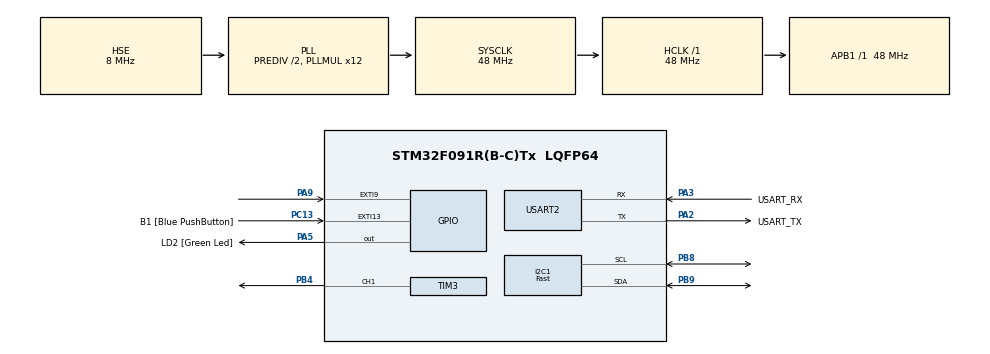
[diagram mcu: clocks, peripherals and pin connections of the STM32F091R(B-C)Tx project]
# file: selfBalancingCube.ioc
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Mcu.Family=STM32F0
RCC.PLLSourceVirtual=RCC_PLLSOURCE_HSE
PA2.GPIO_PuPd=GPIO_NOPULL
I2C1.I2C_Speed_Mode=I2C_Fast
PC15OSC32_OUT.Signal=RCC_OSC32_OUT
PC13.Signal=GPXTI13
VP_IWDG_VS_IWDG.Mode=IWDG_Activate
PA14.GPIO_Label=TCK
PA3.GPIO_PuPd=GPIO_NOPULL
PA2.GPIO_Speed=GPIO_SPEED_FREQ_LOW
PC13.GPIO_Label=B1 [Blue PushButton]
PC15OSC32_OUT.Mode=LSE-External-Oscillator
PA3.GPIO_Speed=GPIO_SPEED_FREQ_LOW
PA9.GPIO_PuPd=GPIO_PULLDOWN
RCC.SYSCLKSource=RCC_SYSCLKSOURCE_PLLCLK
ProjectManager.StackSize=0x400
PA3.Mode=Asynchronous
PA13.Signal=SYS_SWDIO
TIM3.Pulse-PWM\ Generation1\ CH1=0
ProjectManager.TargetToolchain=STM32CubeIDE
PA3.GPIO_Mode=GPIO_MODE_AF_PP
RCC.HCLKFreq_Value=48000000
PB9.Mode=I2C
TIM3.Period=20000
PA9.Signal=GPXTI9
I2C1.Timing=0x0000020B
RCC.PLLDivider=RCC_PREDIV_DIV2
PB4.GPIO_PuPd=GPIO_PULLDOWN
RCC.AHBFreq_Value=48000000
PF0-OSC_IN.Mode=HSE-External-Clock-Source
TIM3.Channel-PWM\ Generation1\ CH1=TIM_CHANNEL_1
RCC.PREFETCH_ENABLE-AdvancedSettings=1
PA5.Signal=GPIO_Output
PB4.GPIO_ModeDefaultPP=GPIO_MODE_AF_PP
board=NUCLEO-F091RC
USART2.VirtualMode-Asynchronous=VM_ASYNC
RCC.PLLMUL=RCC_PLL_MUL12
PB4.GPIO_Speed=GPIO_SPEED_FREQ_HIGH
PA14.Mode=Serial_Wire
TIM3.Prescaler=48-1
PA5.GPIO_PuPd=GPIO_NOPULL
SH.S_TIM3_CH1.0=TIM3_CH1,PWM Generation1 CH1
PA13.Mode=Serial_Wire
Mcu.Name=STM32F091R(B-C)Tx
PA2.Signal=USART2_TX
PA13.GPIO_Label=TMS
RCC.FLatency-AdvancedSettings=FLASH_LATENCY_1
PC14OSC32_IN.Mode=LSE-External-Oscillator
RCC.SYSCLKFreq_VALUE=48000000
Mcu.Package=LQFP64
PB9.Signal=I2C1_SDA
PA5.GPIO_Label=LD2 [Green Led]
PC13.GPIO_ModeDefaultEXTI=GPIO_MODE_IT_FALLING
USART2.VirtualMode=VM_ASYNC
PA2.GPIO_Label=USART_TX
IWDG.Reload=2500
PA14.Signal=SYS_SWCLK
ProjectManager.HeapSize=0x200
PA5.GPIO_Speed=GPIO_SPEED_FREQ_LOW
PB8.Mode=I2C
IWDG.Prescaler=IWDG_PRESCALER_16
RCC.APB1TimFreq_Value=48000000
PA2.Mode=Asynchronous
PB8.Signal=I2C1_SCL
PF0-OSC_IN.Signal=RCC_OSC_IN
RCC.APB1Freq_Value=48000000
PA5.GPIO_Mode=GPIO_MODE_OUTPUT_PP
VP_TIM3_VS_ClockSourceINT.Mode=Internal
TIM3.OCFastMode_PWM-PWM\ Generation1\ CH1=TIM_OCFAST_DISABLE
PF1-OSC_OUT.Signal=RCC_OSC_OUT
NVIC.EXTI4_15_IRQn=true\:0\:0\:false\:false\:true\:true\:true
PC14OSC32_IN.Signal=RCC_OSC32_IN
PB4.Signal=S_TIM3_CH1
PA3.GPIO_Label=USART_RX
PA3.Signal=USART2_RX
PA2.GPIO_Mode=GPIO_MODE_AF_PP

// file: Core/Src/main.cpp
/* USER CODE BEGIN Header */
/**
 ******************************************************************************
 * @file           : main.c
 * @brief          : Main program body
 ******************************************************************************
 * @attention
 *
 * <h2><center>&copy; Copyright (c) 2023 STMicroelectronics.
 * All rights reserved.</center></h2>
 *
 * This software component is licensed by ST under BSD 3-Clause license,
 * the "License"; You may not use this file except in compliance with the
 * License. You may obtain a copy of the License at:
 *                        opensource.org/licenses/BSD-3-Clause
 *
 ******************************************************************************
 */
/* USER CODE END Header */
#include "main.h"
#include "i2c.h"
#include "iwdg.h"
#include "tim.h"
#include "usart.h"
#include "gpio.h"

/* USER CODE BEGIN Includes */
#include "MPU6050_6Axis_MotionApps_V6_12.hpp"
/* USER CODE END Includes */

/* USER CODE BEGIN PV */

MPU6050 mpu;

// uncomment "OUTPUT_READABLE_QUATERNION" if you want to see the actual
// quaternion components in a [w, x, y, z] format (not best for parsing
// on a remote host such as Processing or something though)
//#define OUTPUT_READABLE_QUATERNION

// uncomment "OUTPUT_READABLE_EULER" if you want to see Euler angles
// (in degrees) calculated from the quaternions coming from the FIFO.
// Note that Euler angles suffer from gimbal lock (for more info, see
// http://en.wikipedia.org/wiki/Gimbal_lock)
//#define OUTPUT_READABLE_EULER

// uncomment "OUTPUT_READABLE_YAWPITCHROLL" if you want to see the yaw/
// pitch/roll angles (in degrees) calculated from the quaternions coming
// from the FIFO. Note this also requires gravity vector calculations.
// Also note that yaw/pitch/roll angles suffer from gimbal lock (for
// more info, see: http://en.wikipedia.org/wiki/Gimbal_lock)
//#define OUTPUT_READABLE_YAWPITCHROLL

// uncomment "OUTPUT_READABLE_REALACCEL" if you want to see acceleration
// components with gravity removed. This acceleration reference frame is
// not compensated for orientation, so +X is always +X according to the
// sensor, just without the effects of gravity. If you want acceleration
// compensated for orientation, us OUTPUT_READABLE_WORLDACCEL instead.
//#define OUTPUT_READABLE_REALACCEL

// uncomment "OUTPUT_READABLE_WORLDACCEL" if you want to see acceleration
// components with gravity removed and adjusted for the world frame of
// reference (yaw is relative to initial orientation, since no magnetometer
// is present in this case). Could be quite handy in some cases.
//#define OUTPUT_READABLE_WORLDACCEL

// uncomment "OUTPUT_TEAPOT" if you want output that matches the
// format used for the InvenSense teapot demo
#define OUTPUT_TEAPOT

// MPU control/status vars
bool dmpReady = false;  // set true if DMP init was successful
uint8_t mpuIntStatus;   // holds actual interrupt status byte from MPU
uint8_t devStatus; // return status after each device operation (0 = success, !0 = error)
uint16_t packetSize;    // expected DMP packet size (default is 42 bytes)
uint16_t fifoCount;     // count of all bytes currently in FIFO
uint8_t fifoBuffer[64]; // FIFO storage buffer

// orientation/motion vars
Quaternion q;           // [w, x, y, z]         quaternion container
VectorInt16 aa;         // [x, y, z]            accel sensor measurements
VectorInt16 gy;         // [x, y, z]            gyro sensor measurements
VectorInt16 aaReal; // [x, y, z]            gravity-free accel sensor measurements
VectorInt16 aaWorld; // [x, y, z]            world-frame accel sensor measurements
VectorFloat gravity;    // [x, y, z]            gravity vector
float euler[3];         // [psi, theta, phi]    Euler angle container
float ypr[3]; // [yaw, pitch, roll]   yaw/pitch/roll container and gravity vector

// packet structure for InvenSense teapot demo
uint8_t teapotPacket[14] = { '$', 0x02, 0, 0, 0, 0, 0, 0, 0, 0, 0x00, 0x00, '\r', '\n' };

//6 motion
int16_t a_x, a_y, a_z, g_x, g_y, g_z;

int cnt;
volatile uint8_t cnti = 0;
volatile bool dataReady = 0;
uint16_t lsti = 0;
uint16_t dt = 0;

/* USER CODE END PV */

void SystemClock_Config(void);

/* USER CODE BEGIN 0 */

int MPU_Init() {

	// initialize device
	printf(F("Initializing I2C devices...\n"));           //F(x)=x
	mpu.initialize();

	// verify connection
	printf(F("Testing device connections...\n"));
	//    while(!mpu.testConnection())
	//    {
	//        HAL_I2C_MspDeInit(&hi2c1);
	//        __HAL_RCC_GPIOB_CLK_DISABLE();
	//        HAL_Delay(250);
	//        HAL_I2C_MspInit(&hi2c1);
	//        HAL_Delay(250);
	//        HAL_UART_Transmit(&huart1,(uint8_t *)".",1,100);
	//        //HAL_NVIC_SystemReset();
	//    }

	if (!mpu.testConnection()) {
		printf(F("MPU6050 connection failed\n"));
		return -1;
	}

	// wait for ready

	// load and configure the DMP
	printf(F("Initializing DMP...\n"));

	// supply your own gyro offsets here, scaled for min sensitivity
	mpu.setXGyroOffset(30);
	mpu.setYGyroOffset(58);
	mpu.setZGyroOffset(21);
	mpu.setXAccelOffset(0);
	mpu.setYAccelOffset(0);
	mpu.setZAccelOffset(0);

	if (mpu.dmpInitialize()) {
		// ERROR!
		// 1 = initial memory load failed
		// 2 = DMP configuration updates failed
		// (if it's going to break, usually the code will be 1)
		printf(F("DMP Initialization failed (code "));
		printf("%d", devStatus);
		printf(F(")\n"));
		return -1;
	}

	// Calibration Time: generate offsets and calibrate our MPU6050
	mpu.CalibrateAccel(6);
	mpu.CalibrateGyro(6);
	mpu.PrintActiveOffsets();
	// turn on the DMP, now that it's ready
	printf(F("Enabling DMP...\n"));
	mpu.setDMPEnabled(true);

	// enable Arduino interrupt detection
	mpuIntStatus = mpu.getIntStatus();

	// set our DMP Ready flag so the main loop() function knows it's okay to use it
	printf(F("DMP ready! Waiting for first interrupt...\n"));
	dmpReady = true;

	// get expected DMP packet size for later comparison
	packetSize = mpu.dmpGetFIFOPacketSize();

	return 0;
}

/* USER CODE END 0 */

int main(void) {

	/* MCU Configuration--------------------------------------------------------*/

	/* Reset of all peripherals, Initializes the Flash interface and the Systick. */
	HAL_Init();

	/* Configure the system clock */
	SystemClock_Config();

	/* Initialize all configured peripherals */
	MX_GPIO_Init();
	MX_USART2_UART_Init();
	MX_I2C1_Init();
	MX_TIM3_Init();
//	MX_IWDG_Init();
	/* USER CODE BEGIN 2 */

	while (MPU_Init()) {
		printf("failed, restarting the cpu... \n");
		NVIC_SystemReset();
	}

	MX_IWDG_Init();

	//	__HAL_TIM_SET_COMPARE(&htim3, TIM_CHANNEL_1, 1500);
	//	HAL_TIM_PWM_Start(&htim3, TIM_CHANNEL_1);

	/* USER CODE END 2 */

	/* Infinite loop */
	while (1) {

		/* USER CODE BEGIN 3 */

		if (!dmpReady) {
			continue;
		}

		if (dataReady) {
			dataReady = false;

			if (mpu.dmpGetCurrentFIFOPacket(fifoBuffer)) {

				if (cnt++ % 10 == 0) {
					HAL_GPIO_TogglePin(LD2_GPIO_Port, LD2_Pin);
				}

				teapotPacket[2] = fifoBuffer[0];
				teapotPacket[3] = fifoBuffer[1];
				teapotPacket[4] = fifoBuffer[4];
				teapotPacket[5] = fifoBuffer[5];
				teapotPacket[6] = fifoBuffer[8];
				teapotPacket[7] = fifoBuffer[9];
				teapotPacket[8] = fifoBuffer[12];
				teapotPacket[9] = fifoBuffer[13];
				HAL_UART_Transmit(&huart2, teapotPacket, sizeof(teapotPacket), 100);
//				teapotPacket[11]++; // packetCount, loops at 0xFF on purpose

				HAL_IWDG_Refresh(&hiwdg);

				dt = HAL_GetTick() - lsti;
				lsti = HAL_GetTick();
			}
		}
	}
	/* USER CODE END 3 */
}

void SystemClock_Config(void) {
	RCC_OscInitTypeDef RCC_OscInitStruct = { 0 };
	RCC_ClkInitTypeDef RCC_ClkInitStruct = { 0 };
	RCC_PeriphCLKInitTypeDef PeriphClkInit = { 0 };

	/** Initializes the RCC Oscillators according to the specified parameters
	 * in the RCC_OscInitTypeDef structure.
	 */
	RCC_OscInitStruct.OscillatorType = RCC_OSCILLATORTYPE_HSI | RCC_OSCILLATORTYPE_LSI | RCC_OSCILLATORTYPE_HSE;
	RCC_OscInitStruct.HSEState = RCC_HSE_BYPASS;
	RCC_OscInitStruct.HSIState = RCC_HSI_ON;
	RCC_OscInitStruct.HSICalibrationValue = RCC_HSICALIBRATION_DEFAULT;
	RCC_OscInitStruct.LSIState = RCC_LSI_ON;
	RCC_OscInitStruct.PLL.PLLState = RCC_PLL_ON;
	RCC_OscInitStruct.PLL.PLLSource = RCC_PLLSOURCE_HSE;
	RCC_OscInitStruct.PLL.PLLMUL = RCC_PLL_MUL12;
	RCC_OscInitStruct.PLL.PREDIV = RCC_PREDIV_DIV2;
	if (HAL_RCC_OscConfig(&RCC_OscInitStruct) != HAL_OK) {
		Error_Handler();
	}
	/** Initializes the CPU, AHB and APB buses clocks
	 */
	RCC_ClkInitStruct.ClockType = RCC_CLOCKTYPE_HCLK | RCC_CLOCKTYPE_SYSCLK | RCC_CLOCKTYPE_PCLK1;
	RCC_ClkInitStruct.SYSCLKSource = RCC_SYSCLKSOURCE_PLLCLK;
	RCC_ClkInitStruct.AHBCLKDivider = RCC_SYSCLK_DIV1;
	RCC_ClkInitStruct.APB1CLKDivider = RCC_HCLK_DIV1;

	if (HAL_RCC_ClockConfig(&RCC_ClkInitStruct, FLASH_LATENCY_1) != HAL_OK) {
		Error_Handler();
	}
	PeriphClkInit.PeriphClockSelection = RCC_PERIPHCLK_USART2 | RCC_PERIPHCLK_I2C1;
	PeriphClkInit.Usart2ClockSelection = RCC_USART2CLKSOURCE_PCLK1;
	PeriphClkInit.I2c1ClockSelection = RCC_I2C1CLKSOURCE_HSI;
	if (HAL_RCCEx_PeriphCLKConfig(&PeriphClkInit) != HAL_OK) {
		Error_Handler();
	}
}

/* USER CODE BEGIN 4 */

void HAL_GPIO_EXTI_Callback(uint16_t GPIO_Pin) {
	if (GPIO_Pin == GPIO_PIN_9) {
		if (++cnti >= 2) {
			dataReady = true;
			cnti = 0;
		}
	}
}

/* USER CODE END 4 */

void Error_Handler(void) {
	__disable_irq();
	while (1) {
	}
}

/************************ (C) COPYRIGHT STMicroelectronics *****END OF FILE****/
